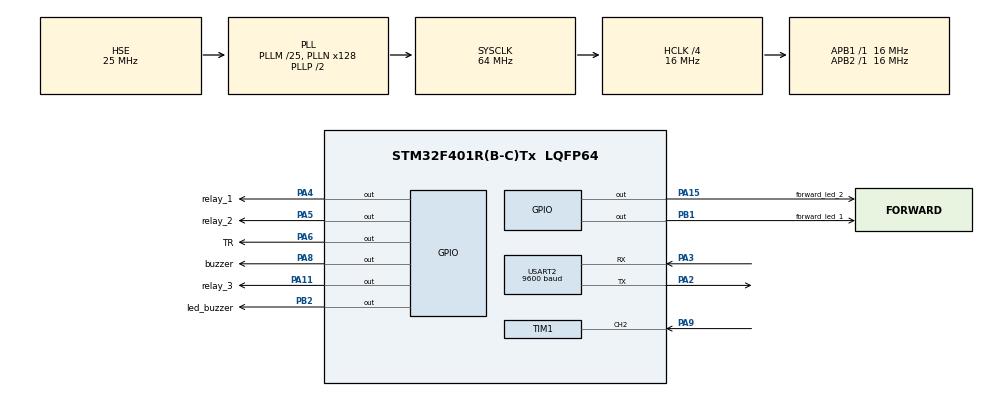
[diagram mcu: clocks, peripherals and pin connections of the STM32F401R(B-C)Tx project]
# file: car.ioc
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Mcu.Family=STM32F4
Mcu.Name=STM32F401R(B-C)Tx
Mcu.Package=LQFP64
NVIC.PriorityGroup=NVIC_PRIORITYGROUP_4
NVIC.TIM1_CC_IRQn=true\:0\:0\:false\:false\:true\:true\:true\:true
NVIC.TIM1_TRG_COM_TIM11_IRQn=true\:0\:0\:false\:false\:true\:true\:true\:true
NVIC.USART2_IRQn=true\:0\:0\:false\:false\:true\:true\:true\:true
PA11.GPIO_Label=relay_3
PA11.GPIO_PuPd=GPIO_PULLDOWN
PA11.PinState=GPIO_PIN_SET
PA11.Signal=GPIO_Output
PA13.Mode=Serial_Wire
PA13.Signal=SYS_JTMS-SWDIO
PA14.Mode=Serial_Wire
PA14.Signal=SYS_JTCK-SWCLK
PA15.GPIO_Label=forward_led_2
PA15.GPIO_PuPd=GPIO_PULLDOWN
PA15.PinState=GPIO_PIN_RESET
PA15.Signal=GPIO_Output
PA2.Mode=Asynchronous
PA2.Signal=USART2_TX
PA3.Mode=Asynchronous
PA3.Signal=USART2_RX
PA4.GPIO_Label=relay_1
PA4.PinState=GPIO_PIN_SET
PA4.Signal=GPIO_Output
PA5.GPIO_Label=relay_2
PA5.PinState=GPIO_PIN_SET
PA5.Signal=GPIO_Output
PA6.GPIO_Label=TR
PA6.Signal=GPIO_Output
PA8.GPIO_Label=buzzer
PA8.GPIO_PuPd=GPIO_PULLDOWN
PA8.PinState=GPIO_PIN_RESET
PA8.Signal=GPIO_Output
PA9.Signal=S_TIM1_CH2
PB1.GPIO_Label=forward_led_1
PB1.Signal=GPIO_Output
PB2.GPIO_Label=led_buzzer
PB2.Signal=GPIO_Output
PH0\ -\ OSC_IN.Mode=HSE-External-Oscillator
PH0\ -\ OSC_IN.Signal=RCC_OSC_IN
PH1\ -\ OSC_OUT.Mode=HSE-External-Oscillator
PH1\ -\ OSC_OUT.Signal=RCC_OSC_OUT
ProjectManager.HeapSize=0x200
ProjectManager.StackSize=0x400
ProjectManager.TargetToolchain=STM32CubeIDE
RCC.48MHZClocksFreq_Value=32000000
RCC.AHBCLKDivider=RCC_SYSCLK_DIV4
RCC.AHBFreq_Value=16000000
RCC.APB1Freq_Value=16000000
RCC.APB1TimFreq_Value=16000000
RCC.APB2Freq_Value=16000000
RCC.APB2TimFreq_Value=16000000
RCC.CortexFreq_Value=16000000
RCC.HCLKFreq_Value=16000000
RCC.HSE_VALUE=25000000
RCC.HSI_VALUE=16000000
RCC.LSE_VALUE=32768
RCC.PLLM=25
RCC.PLLN=128
RCC.PLLSourceVirtual=RCC_PLLSOURCE_HSE
RCC.SYSCLKFreq_VALUE=64000000
RCC.SYSCLKSource=RCC_SYSCLKSOURCE_PLLCLK
RCC.VCOOutputFreq_Value=128000000
SH.S_TIM1_CH2.0=TIM1_CH2,Input_Capture2_from_TI2
TIM1.Channel-Input_Capture2_from_TI2=TIM_CHANNEL_2
TIM1.Prescaler=16-1
USART2.BaudRate=9600
USART2.VirtualMode=VM_ASYNC
VP_TIM1_VS_ClockSourceINT.Mode=Internal
board=custom

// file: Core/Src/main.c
/* USER CODE BEGIN Header */
/**
  ******************************************************************************
  * @file           : main.c
  * @brief          : Main program body
  ******************************************************************************
  * @attention
  *
  * Copyright (c) 2024 STMicroelectronics.
  * All rights reserved.
  *
  * This software is licensed under terms that can be found in the LICENSE file
  * in the root directory of this software component.
  * If no LICENSE file comes with this software, it is provided AS-IS.
  *
  ******************************************************************************
  */
/* USER CODE END Header */
#include "main.h"
#include "tim.h"
#include "usart.h"
#include "gpio.h"

/* USER CODE BEGIN Includes */
#include "ultrasonic_cfg.h"
/* USER CODE END Includes */

/* USER CODE BEGIN PV */
volatile uint8_t data_receive[1] = {0} ;

uint32_t IC_Val1 ;
uint32_t IC_Val2 ;
uint32_t Difference ;
uint8_t Is_First_Captured ;  // is the first value captured ?
uint8_t Distance ;

/* USER CODE END PV */

void SystemClock_Config(void);

/* USER CODE BEGIN 0 */
void HAL_UART_RxCpltCallback(UART_HandleTypeDef *huart)
{
  /* Prevent unused argument(s) compilation warning */
	HAL_UART_Receive_IT(&huart2,data_receive,1);
	//HAL_GPIO_WritePin(GPIOC, GPIO_PIN_13, GPIO_PIN_SET);
  /* NOTE: This function should not be modified, when the callback is needed,
           the HAL_UART_RxCpltCallback could be implemented in the user file
   */
}

void HAL_TIM_IC_CaptureCallback(TIM_HandleTypeDef *htim)
{
   if (htim->Channel == HAL_TIM_ACTIVE_CHANNEL_2)  // if the interrupt source is channel1
   {
       if (Is_First_Captured == 0) // if the first value is not captured
       {
           IC_Val1 = HAL_TIM_ReadCapturedValue(htim, TIM_CHANNEL_2); // read the first value
           Is_First_Captured = 1;  // set the first captured as true
           // Now change the polarity to falling edge
           __HAL_TIM_SET_CAPTUREPOLARITY(htim, TIM_CHANNEL_2, TIM_INPUTCHANNELPOLARITY_FALLING);
       }

       else if (Is_First_Captured==1)   // if the first is already captured
       {
           IC_Val2 = HAL_TIM_ReadCapturedValue(htim, TIM_CHANNEL_2);  // read second value
           __HAL_TIM_SET_COUNTER(htim, 0);  // reset the counter

           if (IC_Val2 > IC_Val1)
           {
               Difference = IC_Val2-IC_Val1;
           }

           else if (IC_Val1 > IC_Val2)
           {
               Difference = (0xffff - IC_Val1) + IC_Val2;
           }

           Distance = Difference * (0.034/2);
           Is_First_Captured = 0; // set it back to false

           // set polarity to rising edge
           __HAL_TIM_SET_CAPTUREPOLARITY(htim, TIM_CHANNEL_2, TIM_INPUTCHANNELPOLARITY_RISING);
           __HAL_TIM_DISABLE_IT(&htim1, TIM_IT_CC2);
       }
   }
}
/* USER CODE END 0 */

int main(void)
{

  /* MCU Configuration--------------------------------------------------------*/

  /* Reset of all peripherals, Initializes the Flash interface and the Systick. */
  HAL_Init();

  /* Configure the system clock */
  SystemClock_Config();

  /* Initialize all configured peripherals */
  MX_GPIO_Init();
  MX_USART2_UART_Init();
  MX_TIM1_Init();
  /* USER CODE BEGIN 2 */
  HAL_UART_Receive_IT(&huart2,data_receive,1);
  HAL_TIM_IC_Start_IT(&htim1, TIM_CHANNEL_2);                  //start timer for ultasonic
  /* USER CODE END 2 */

  /* Infinite loop */
  /* USER CODE BEGIN WHILE */
  while (1)
  {
	  //HAL_UART_Receive(&huart2,data_receive,1,1000);

	 HCSR04_Read(&ultra_1);
     if(Distance < 12){
	     HAL_GPIO_WritePin(GPIOA, buzzer_Pin, GPIO_PIN_SET);
	 	 HAL_GPIO_WritePin(GPIOB, led_buzzer_Pin, GPIO_PIN_SET);

	 	if(data_receive[0] == '1'){
	 			  HAL_GPIO_WritePin(GPIOA, relay_1_Pin, GPIO_PIN_SET);
	 			  HAL_GPIO_WritePin(GPIOA, relay_2_Pin, GPIO_PIN_SET);
	 		  }else if(data_receive[0] == '2'){
	 			  HAL_GPIO_WritePin(GPIOA, relay_1_Pin, GPIO_PIN_RESET);
	 			  HAL_GPIO_WritePin(GPIOA, relay_2_Pin, GPIO_PIN_SET);
	 		  }else if(data_receive[0] == '3'){
	 			  HAL_GPIO_WritePin(GPIOA, relay_1_Pin, GPIO_PIN_SET);
	 			  HAL_GPIO_WritePin(GPIOA, relay_2_Pin, GPIO_PIN_SET);
	 		  }
	 		  else if(data_receive[0] == '4'){
	 			  HAL_GPIO_WritePin(relay_3_GPIO_Port, relay_3_Pin, GPIO_PIN_RESET);
	 		  }
	 		  else if(data_receive[0] == '5'){
	 			  HAL_GPIO_WritePin(GPIOB, forward_led_1_Pin, GPIO_PIN_SET);
	 			  HAL_GPIO_WritePin(GPIOA, forward_led_2_Pin, GPIO_PIN_SET);
	 		  }
	 		  else if(data_receive[0] == '6'){
	 			  HAL_GPIO_WritePin(GPIOB, forward_led_1_Pin, GPIO_PIN_RESET);
	 			  HAL_GPIO_WritePin(GPIOA, forward_led_2_Pin, GPIO_PIN_RESET);
	 			  HAL_GPIO_WritePin(relay_3_GPIO_Port, relay_3_Pin, GPIO_PIN_SET);
	 		  }else if(data_receive[0] == '7'){
	 			  HAL_GPIO_WritePin(relay_3_GPIO_Port, relay_3_Pin, GPIO_PIN_SET);
	 		  }

	  }else{

     HAL_GPIO_WritePin(GPIOA, buzzer_Pin, GPIO_PIN_RESET);
     HAL_GPIO_WritePin(GPIOB, led_buzzer_Pin, GPIO_PIN_RESET);

	  if(data_receive[0] == '1'){
		  HAL_GPIO_WritePin(GPIOA, relay_1_Pin, GPIO_PIN_SET);
		  HAL_GPIO_WritePin(GPIOA, relay_2_Pin, GPIO_PIN_RESET);
	  }else if(data_receive[0] == '2'){
		  HAL_GPIO_WritePin(GPIOA, relay_1_Pin, GPIO_PIN_RESET);
		  HAL_GPIO_WritePin(GPIOA, relay_2_Pin, GPIO_PIN_SET);
	  }else if(data_receive[0] == '3'){
		  HAL_GPIO_WritePin(GPIOA, relay_1_Pin, GPIO_PIN_SET);
		  HAL_GPIO_WritePin(GPIOA, relay_2_Pin, GPIO_PIN_SET);
	  }
	  else if(data_receive[0] == '4'){
		  HAL_GPIO_WritePin(relay_3_GPIO_Port, relay_3_Pin, GPIO_PIN_RESET);
	  }
	  else if(data_receive[0] == '5'){
		  HAL_GPIO_WritePin(GPIOB, forward_led_1_Pin, GPIO_PIN_SET);
		  HAL_GPIO_WritePin(GPIOA, forward_led_2_Pin, GPIO_PIN_SET);
	  }
	  else if(data_receive[0] == '6'){
		  HAL_GPIO_WritePin(GPIOB, forward_led_1_Pin, GPIO_PIN_RESET);
		  HAL_GPIO_WritePin(GPIOA, forward_led_2_Pin, GPIO_PIN_RESET);
		  HAL_GPIO_WritePin(relay_3_GPIO_Port, relay_3_Pin, GPIO_PIN_SET);
	  }else if(data_receive[0] == '7'){
		  HAL_GPIO_WritePin(relay_3_GPIO_Port, relay_3_Pin, GPIO_PIN_SET);
	  }

	  }
		  /*
		  HAL_GPIO_WritePin(GPIOB, GPIO_PIN_1, GPIO_PIN_SET);
	 	  HAL_GPIO_WritePin(GPIOB, GPIO_PIN_0, GPIO_PIN_SET);
		  HAL_GPIO_WritePin(GPIOA, GPIO_PIN_10, GPIO_PIN_RESET);
		  HAL_GPIO_WritePin(GPIOA, GPIO_PIN_11, GPIO_PIN_RESET);
		  HAL_GPIO_WritePin(GPIOA, GPIO_PIN_8, GPIO_PIN_RESET);
		  HAL_GPIO_WritePin(GPIOA, GPIO_PIN_15, GPIO_PIN_RESET);
		  HAL_GPIO_WritePin(GPIOB, GPIO_PIN_4, GPIO_PIN_SET);
		  */

	  //HAL_Delay(500);
    /* USER CODE END WHILE */

  }
}

void SystemClock_Config(void)
{
  RCC_OscInitTypeDef RCC_OscInitStruct = {0};
  RCC_ClkInitTypeDef RCC_ClkInitStruct = {0};

  /** Configure the main internal regulator output voltage
  */
  __HAL_RCC_PWR_CLK_ENABLE();
  __HAL_PWR_VOLTAGESCALING_CONFIG(PWR_REGULATOR_VOLTAGE_SCALE2);

  /** Initializes the RCC Oscillators according to the specified parameters
  * in the RCC_OscInitTypeDef structure.
  */
  RCC_OscInitStruct.OscillatorType = RCC_OSCILLATORTYPE_HSE;
  RCC_OscInitStruct.HSEState = RCC_HSE_ON;
  RCC_OscInitStruct.PLL.PLLState = RCC_PLL_ON;
  RCC_OscInitStruct.PLL.PLLSource = RCC_PLLSOURCE_HSE;
  RCC_OscInitStruct.PLL.PLLM = 25;
  RCC_OscInitStruct.PLL.PLLN = 128;
  RCC_OscInitStruct.PLL.PLLP = RCC_PLLP_DIV2;
  RCC_OscInitStruct.PLL.PLLQ = 4;
  if (HAL_RCC_OscConfig(&RCC_OscInitStruct) != HAL_OK)
  {
    Error_Handler();
  }

  /** Initializes the CPU, AHB and APB buses clocks
  */
  RCC_ClkInitStruct.ClockType = RCC_CLOCKTYPE_HCLK|RCC_CLOCKTYPE_SYSCLK
                              |RCC_CLOCKTYPE_PCLK1|RCC_CLOCKTYPE_PCLK2;
  RCC_ClkInitStruct.SYSCLKSource = RCC_SYSCLKSOURCE_PLLCLK;
  RCC_ClkInitStruct.AHBCLKDivider = RCC_SYSCLK_DIV4;
  RCC_ClkInitStruct.APB1CLKDivider = RCC_HCLK_DIV1;
  RCC_ClkInitStruct.APB2CLKDivider = RCC_HCLK_DIV1;

  if (HAL_RCC_ClockConfig(&RCC_ClkInitStruct, FLASH_LATENCY_0) != HAL_OK)
  {
    Error_Handler();
  }
}

void Error_Handler(void)
{
  __disable_irq();
  while (1)
  {
  }
}
